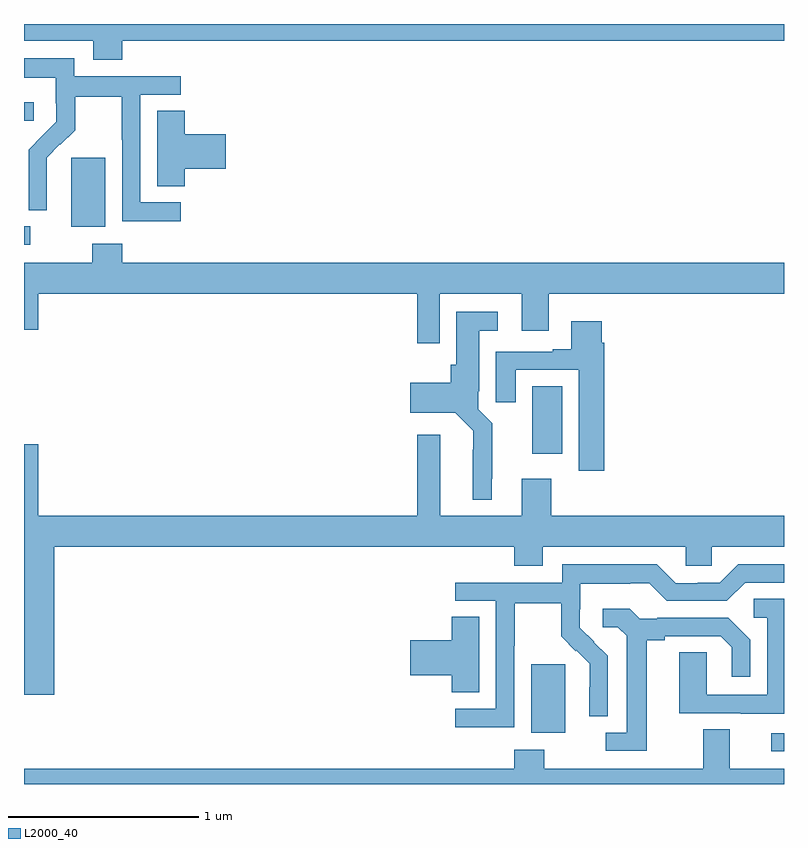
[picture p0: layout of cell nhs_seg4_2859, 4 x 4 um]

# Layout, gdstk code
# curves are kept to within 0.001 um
import gdstk
lib = gdstk.Library(unit=1e-6, precision=1e-09)
def R(c, l, rs):  # rectangles x0, y0, x1, y1
    for r in rs: c.add(gdstk.rectangle(r[:2], r[2:], *l))
def P(c, l, *ps):  # polygons
    for p in ps: c.add(gdstk.Polygon(p, *l))
L2000_40 = (2000, 40)

nhs_seg4_2859 = lib.new_cell('nhs_seg4_2859')
R(nhs_seg4_2859, L2000_40, [(264.933,801.072,265,801.168), (263.669,801.17,263.848,801.531), (263.675,802.638,263.833,802.994), (261,803.739,261.034,803.835), (261.248,803.834,261.427,804.195), (261,804.39,261.052,804.487)])
P(nhs_seg4_2859, L2000_40, [(261.518,804.812),(265,804.812),(265,804.9),(261,804.9),(261,804.812),(261.365,804.812),(261.365,804.713),(261.518,804.713)],
  [(261.826,803.961),(261.612,803.961),(261.612,804.528),(261.826,804.528),(261.826,804.624),(261.264,804.624),(261.264,804.721),(261,804.721),(261,804.617),(261.168,804.617),(261.168,804.483),(261.17,804.483),(261.17,804.386),(261.024,804.238),(261.024,803.92),(261.12,803.92),(261.119,804.197),(261.189,804.267),(261.192,804.264),(261.269,804.341),(261.269,804.516),(261.514,804.516),(261.514,804.292),(261.516,804.292),(261.516,803.863),(261.826,803.863)],
  [(261.845,804.137),(262.063,804.137),(262.063,804.32),(261.845,804.32),(261.845,804.443),(261.701,804.443),(261.701,804.046),(261.845,804.046)],
  [(263.187,803.48),(263.621,803.48),(263.621,803.286),(263.761,803.286),(263.761,803.48),(265,803.48),(265,803.644),(261.518,803.644),(261.518,803.743),(261.358,803.743),(261.358,803.644),(261,803.644),(261,803.292),(261.076,803.292),(261.076,803.48),(263.071,803.48),(263.071,803.22),(263.187,803.22)],
  [(263.461,802.507),(263.464,802.507),(263.464,802.799),(263.391,802.872),(263.391,802.966),(263.395,802.966),(263.395,803.285),(263.494,803.285),(263.494,803.386),(263.276,803.386),(263.276,803.106),(263.246,803.106),(263.246,803.011),(263.034,803.011),(263.034,802.853),(263.271,802.853),(263.364,802.76),(263.363,802.397),(263.461,802.397)],
  [(264.053,803.222),(264.04,803.222),(264.04,803.335),(263.879,803.335),(263.879,803.188),(263.783,803.188),(263.783,803.175),(263.483,803.175),(263.483,802.908),(263.587,802.908),(263.587,803.079),(263.921,803.079),(263.921,802.548),(264.053,802.548)],
  [(261.158,802.148),(263.579,802.148),(263.579,802.049),(263.731,802.049),(263.731,802.148),(264.483,802.148),(264.483,802.05),(264.621,802.05),(264.621,802.148),(265,802.148),(265,802.312),(263.774,802.312),(263.774,802.507),(263.621,802.507),(263.621,802.312),(263.191,802.312),(263.191,802.738),(263.069,802.738),(263.069,802.312),(261.076,802.312),(261.076,802.687),(261,802.687),(261,801.369),(261.158,801.369)],
  [(263.58,801.628),(263.583,801.628),(263.583,801.852),(263.827,801.852),(263.827,801.677),(263.904,801.6),(263.907,801.603),(263.978,801.533),(263.978,801.41),(263.976,801.41),(263.976,801.256),(264.072,801.256),(264.072,801.574),(263.926,801.722),(263.926,801.819),(263.928,801.819),(263.928,801.953),(264.191,801.953),(264.191,801.957),(264.291,801.957),(264.384,801.864),(264.699,801.864),(264.795,801.96),(265,801.96),(265,802.056),(264.759,802.056),(264.663,801.96),(264.545,801.96),(264.545,801.957),(264.429,801.957),(264.329,802.057),(263.832,802.057),(263.832,801.96),(263.271,801.96),(263.271,801.864),(263.484,801.864),(263.484,801.297),(263.271,801.297),(263.271,801.199),(263.58,801.199)],
  [(265,801.875),(264.84,801.875),(264.84,801.774),(264.912,801.774),(264.912,801.369),(264.594,801.369),(264.594,801.593),(264.449,801.593),(264.449,801.273),(264.773,801.273),(264.773,801.269),(265,801.269)],
  [(264.277,801.656),(264.373,801.656),(264.373,801.678),(264.668,801.678),(264.725,801.621),(264.725,801.465),(264.822,801.465),(264.822,801.658),(264.706,801.774),(264.334,801.774),(264.334,801.771),(264.24,801.771),(264.188,801.823),(264.045,801.823),(264.045,801.726),(264.126,801.726),(264.173,801.679),(264.173,801.171),(264.063,801.171),(264.063,801.075),(264.277,801.075)],
  [(263.395,801.779),(263.252,801.779),(263.252,801.656),(263.034,801.656),(263.034,801.473),(263.252,801.473),(263.252,801.382),(263.395,801.382)],
  [(265,800.98),(264.715,800.98),(264.715,801.188),(264.575,801.188),(264.575,800.98),(263.739,800.98),(263.739,801.079),(263.579,801.079),(263.579,800.98),(261,800.98),(261,800.9),(265,800.9)])

lib.write_gds('nhs_seg4_2859.gds')
